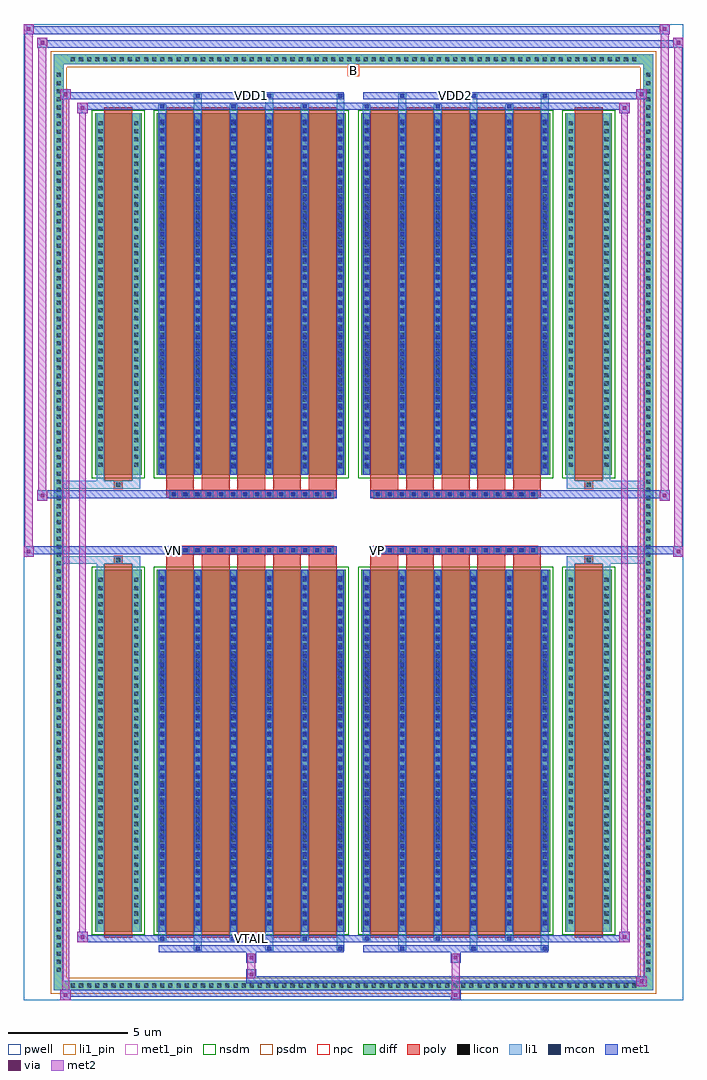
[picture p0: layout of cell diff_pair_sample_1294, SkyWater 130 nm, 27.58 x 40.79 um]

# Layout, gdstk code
import gdstk
lib = gdstk.Library(unit=1e-6, precision=5e-09)
def R(c, l, rs):  # rectangles x0, y0, x1, y1
    for r in rs: c.add(gdstk.rectangle(r[:2], r[2:], *l))
def A(c, l, x, y, w, h, nx, ny, dx, dy):  # array of equal rectangles
    R(c, l, [(x+i*dx, y+j*dy, x+i*dx+w, y+j*dy+h) for i in range(nx) for j in range(ny)])
def P(c, l, *ps):  # polygons
    for p in ps: c.add(gdstk.Polygon(p, *l))
pwell = (64, 44)
diff = (65, 20)
poly = (66, 20)
licon = (66, 44)
li1_pin = (67, 16)
li1 = (67, 20)
mcon = (67, 44)
met1_pin = (68, 16)
met1 = (68, 20)
via = (68, 44)
met2 = (69, 20)
nsdm = (93, 44)
psdm = (94, 20)
npc = (95, 20)

diff_pair_sample_1294 = lib.new_cell('diff_pair_sample_1294')
R(diff_pair_sample_1294, pwell, [(-13.79,-19.96,13.79,20.83), (-11.11,-18.15,-0.01,-0.805), (0.01,-18.15,11.11,-0.805), (-11.11,0.805,-0.01,18.15), (0.01,0.805,11.11,18.15)])
A(diff_pair_sample_1294, diff, -11.935, -19.56, 0.41, 0.41, 70, 2, 0.34, 38.71)
A(diff_pair_sample_1294, diff, -12.52, -18.905, 0.41, 0.41, 1, 111, 0, 0.34)
A(diff_pair_sample_1294, diff, 12.11, -18.905, 0.41, 0.41, 1, 111, 0, 0.34)
R(diff_pair_sample_1294, diff, [(-11.935,-19.56,11.935,-19.15), (-12.52,-18.905,-12.11,18.905), (12.11,-18.905,12.52,18.905), (-10.8,-17.105,-8.86,-1.985), (-8.22,-17.105,-0.32,-1.985), (0.32,-17.105,8.22,-1.985), (8.86,-17.105,10.8,-1.985), (-10.8,1.985,-8.86,17.105), (-8.22,1.985,-0.32,17.105), (0.32,1.985,8.22,17.105), (8.86,1.985,10.8,17.105), (-11.935,19.15,11.935,19.56)])
P(diff_pair_sample_1294, diff, [(12.52,19.56),(-12.52,19.56),(-12.52,-19.15),(-12.11,-19.15),(-12.11,19.15),(12.11,19.15),(12.11,-19.15),(-12.11,-19.15),(-12.52,-19.15),(-12.52,-19.56),(12.52,-19.56)])
A(diff_pair_sample_1294, poly, -7.83, -17.355, 1.16, 15.62, 5, 2, 1.49, 19.09)
A(diff_pair_sample_1294, poly, 0.71, -17.355, 1.16, 15.62, 5, 2, 1.49, 19.09)
A(diff_pair_sample_1294, poly, -7.83, -1.735, 1.16, 0.4, 5, 2, 1.49, 3.07)
A(diff_pair_sample_1294, poly, 0.71, -1.735, 1.16, 0.4, 5, 2, 1.49, 3.07)
A(diff_pair_sample_1294, poly, -7.685, -1.335, 0.33, 0.33, 14, 2, 0.5, 2.34)
A(diff_pair_sample_1294, poly, 0.855, -1.335, 0.33, 0.33, 14, 2, 0.5, 2.34)
R(diff_pair_sample_1294, poly, [(-10.41,-17.355,-9.25,-1.735), (9.25,-17.355,10.41,-1.735), (-9.995,-1.735,-9.665,-1.405), (-9.995,-1.735,-9.665,-1.405), (9.665,-1.735,9.995,-1.405), (9.665,-1.735,9.995,-1.405), (-7.83,-1.335,-0.71,-1.005), (0.71,-1.335,7.83,-1.005), (-7.83,1.005,-0.71,1.335), (0.71,1.005,7.83,1.335), (-9.995,1.405,-9.665,1.735), (-9.995,1.405,-9.665,1.735), (9.665,1.405,9.995,1.735), (9.665,1.405,9.995,1.735), (-10.41,1.735,-9.25,17.355), (9.25,1.735,10.41,17.355)])
A(diff_pair_sample_1294, licon, -11.815, -19.44, 0.17, 0.17, 70, 2, 0.34, 38.71)
A(diff_pair_sample_1294, licon, -12.4, -18.785, 0.17, 0.17, 1, 111, 0, 0.34)
A(diff_pair_sample_1294, licon, 12.23, -18.785, 0.17, 0.17, 1, 111, 0, 0.34)
A(diff_pair_sample_1294, licon, -10.66, -16.77, 0.17, 0.17, 1, 43, 0, 0.34)
A(diff_pair_sample_1294, licon, -9.17, -16.77, 0.17, 0.17, 1, 43, 0, 0.34)
A(diff_pair_sample_1294, licon, -8.08, -16.77, 0.17, 0.17, 6, 43, 1.49, 0.34)
A(diff_pair_sample_1294, licon, 0.46, -16.77, 0.17, 0.17, 6, 43, 1.49, 0.34)
A(diff_pair_sample_1294, licon, 9, -16.77, 0.17, 0.17, 1, 43, 0, 0.34)
A(diff_pair_sample_1294, licon, 10.49, -16.77, 0.17, 0.17, 1, 43, 0, 0.34)
A(diff_pair_sample_1294, licon, -7.605, -1.255, 0.17, 0.17, 14, 2, 0.5, 2.34)
A(diff_pair_sample_1294, licon, 0.935, -1.255, 0.17, 0.17, 14, 2, 0.5, 2.34)
A(diff_pair_sample_1294, licon, -10.66, 2.32, 0.17, 0.17, 1, 43, 0, 0.34)
A(diff_pair_sample_1294, licon, -9.17, 2.32, 0.17, 0.17, 1, 43, 0, 0.34)
A(diff_pair_sample_1294, licon, -8.08, 2.32, 0.17, 0.17, 6, 43, 1.49, 0.34)
A(diff_pair_sample_1294, licon, 0.46, 2.32, 0.17, 0.17, 6, 43, 1.49, 0.34)
A(diff_pair_sample_1294, licon, 9, 2.32, 0.17, 0.17, 1, 43, 0, 0.34)
A(diff_pair_sample_1294, licon, 10.49, 2.32, 0.17, 0.17, 1, 43, 0, 0.34)
R(diff_pair_sample_1294, licon, [(-9.915,-1.655,-9.745,-1.485), (9.745,-1.655,9.915,-1.485), (-9.915,1.485,-9.745,1.655), (9.745,1.485,9.915,1.655)])
R(diff_pair_sample_1294, li1_pin, [(-0.25,18.65,0.25,19.15)])
A(diff_pair_sample_1294, li1, -11.895, -19.52, 0.33, 0.33, 70, 2, 0.34, 38.71)
A(diff_pair_sample_1294, li1, -12.48, -18.865, 0.33, 0.33, 1, 111, 0, 0.34)
A(diff_pair_sample_1294, li1, 12.15, -18.865, 0.33, 0.33, 1, 111, 0, 0.34)
A(diff_pair_sample_1294, li1, -6.67, -17.91, 0.33, 0.805, 3, 2, 2.98, 35.015)
A(diff_pair_sample_1294, li1, -6.59, -17.91, 0.17, 0.17, 3, 2, 2.98, 35.65)
A(diff_pair_sample_1294, li1, 1.87, -17.91, 0.33, 0.805, 3, 2, 2.98, 35.015)
A(diff_pair_sample_1294, li1, 1.95, -17.91, 0.17, 0.17, 3, 2, 2.98, 35.65)
A(diff_pair_sample_1294, li1, -8.16, -17.48, 0.33, 0.375, 3, 2, 2.98, 34.585)
A(diff_pair_sample_1294, li1, -8.08, -17.48, 0.17, 0.17, 3, 2, 2.98, 34.79)
A(diff_pair_sample_1294, li1, 0.38, -17.48, 0.33, 0.375, 3, 2, 2.98, 34.585)
A(diff_pair_sample_1294, li1, 0.46, -17.48, 0.17, 0.17, 3, 2, 2.98, 34.79)
A(diff_pair_sample_1294, li1, -8.16, -17.105, 0.33, 15.12, 6, 2, 1.49, 19.09)
A(diff_pair_sample_1294, li1, 0.38, -17.105, 0.33, 15.12, 6, 2, 1.49, 19.09)
A(diff_pair_sample_1294, li1, -10.74, -16.85, 0.33, 0.33, 1, 43, 0, 0.34)
A(diff_pair_sample_1294, li1, -9.25, -16.85, 0.33, 0.33, 1, 43, 0, 0.34)
A(diff_pair_sample_1294, li1, -8.16, -16.85, 0.33, 0.33, 6, 43, 1.49, 0.34)
A(diff_pair_sample_1294, li1, 0.38, -16.85, 0.33, 0.33, 6, 43, 1.49, 0.34)
A(diff_pair_sample_1294, li1, 8.92, -16.85, 0.33, 0.33, 1, 43, 0, 0.34)
A(diff_pair_sample_1294, li1, 10.41, -16.85, 0.33, 0.33, 1, 43, 0, 0.34)
A(diff_pair_sample_1294, li1, -8.08, -16.83, 0.17, 0.17, 6, 41, 1.49, 0.36)
A(diff_pair_sample_1294, li1, -8.08, -16.83, 0.17, 14.57, 6, 2, 1.49, 19.09)
A(diff_pair_sample_1294, li1, 0.46, -16.83, 0.17, 0.17, 6, 41, 1.49, 0.36)
A(diff_pair_sample_1294, li1, 0.46, -16.83, 0.17, 14.57, 6, 2, 1.49, 19.09)
A(diff_pair_sample_1294, li1, -7.685, -1.335, 0.33, 0.33, 14, 2, 0.5, 2.34)
A(diff_pair_sample_1294, li1, 0.855, -1.335, 0.33, 0.33, 14, 2, 0.5, 2.34)
A(diff_pair_sample_1294, li1, -10.74, 2.24, 0.33, 0.33, 1, 43, 0, 0.34)
A(diff_pair_sample_1294, li1, -9.25, 2.24, 0.33, 0.33, 1, 43, 0, 0.34)
A(diff_pair_sample_1294, li1, -8.16, 2.24, 0.33, 0.33, 6, 43, 1.49, 0.34)
A(diff_pair_sample_1294, li1, 0.38, 2.24, 0.33, 0.33, 6, 43, 1.49, 0.34)
A(diff_pair_sample_1294, li1, 8.92, 2.24, 0.33, 0.33, 1, 43, 0, 0.34)
A(diff_pair_sample_1294, li1, 10.41, 2.24, 0.33, 0.33, 1, 43, 0, 0.34)
A(diff_pair_sample_1294, li1, -8.08, 2.26, 0.17, 0.17, 6, 41, 1.49, 0.36)
A(diff_pair_sample_1294, li1, 0.46, 2.26, 0.17, 0.17, 6, 41, 1.49, 0.36)
R(diff_pair_sample_1294, li1, [(-12.52,-19.56,-12.11,-19.15), (-12.52,-19.56,-12.11,-19.15), (-12.11,-19.56,12.11,-19.15), (12.11,-19.56,12.52,-19.15), (12.11,-19.56,12.52,-19.15), (-12.52,-19.15,-12.11,19.15), (12.11,-19.15,12.52,19.15), (-10.74,-17.105,-10.41,-1.985), (-9.25,-17.105,-8.92,-1.985), (8.92,-17.105,9.25,-1.985), (10.41,-17.105,10.74,-1.985), (-10.74,-1.985,-10.41,-1.405), (-9.25,-1.985,-8.92,-1.405), (8.92,-1.985,9.25,-1.405), (10.41,-1.985,10.74,-1.405), (-12.52,-1.735,-9.995,-1.405), (-10.74,-1.735,-9.995,-1.405), (-9.995,-1.735,-9.665,-1.405), (-9.665,-1.735,-8.92,-1.405), (8.92,-1.735,9.665,-1.405), (9.665,-1.735,9.995,-1.405), (9.665,-1.735,12.52,-1.405), (9.995,-1.735,10.74,-1.405), (-12.52,1.405,-9.995,1.735), (-10.74,1.405,-9.995,1.735), (-10.74,1.405,-10.41,1.985), (-9.995,1.405,-9.665,1.735), (-9.665,1.405,-8.92,1.735), (-9.25,1.405,-8.92,1.985), (8.92,1.405,9.665,1.735), (8.92,1.405,9.25,1.985), (9.665,1.405,9.995,1.735), (9.665,1.405,12.52,1.735), (9.995,1.405,10.74,1.735), (10.41,1.405,10.74,1.985), (-10.74,1.985,-10.41,17.105), (-9.25,1.985,-8.92,17.105), (8.92,1.985,9.25,17.105), (10.41,1.985,10.74,17.105), (-12.52,19.15,-12.11,19.56), (-12.52,19.15,-12.11,19.56), (-12.11,19.15,12.11,19.56), (12.11,19.15,12.52,19.56), (12.11,19.15,12.52,19.56)])
A(diff_pair_sample_1294, mcon, -6.59, -17.91, 0.17, 0.17, 3, 2, 2.98, 35.65)
A(diff_pair_sample_1294, mcon, 1.95, -17.91, 0.17, 0.17, 3, 2, 2.98, 35.65)
A(diff_pair_sample_1294, mcon, -8.08, -17.48, 0.17, 0.17, 3, 2, 2.98, 34.79)
A(diff_pair_sample_1294, mcon, 0.46, -17.48, 0.17, 0.17, 3, 2, 2.98, 34.79)
A(diff_pair_sample_1294, mcon, -8.08, -16.83, 0.17, 0.17, 6, 41, 1.49, 0.36)
A(diff_pair_sample_1294, mcon, 0.46, -16.83, 0.17, 0.17, 6, 41, 1.49, 0.36)
A(diff_pair_sample_1294, mcon, -7.605, -1.255, 0.17, 0.17, 14, 2, 0.5, 2.34)
A(diff_pair_sample_1294, mcon, 0.935, -1.255, 0.17, 0.17, 14, 2, 0.5, 2.34)
A(diff_pair_sample_1294, mcon, -8.08, 2.26, 0.17, 0.17, 6, 41, 1.49, 0.36)
A(diff_pair_sample_1294, mcon, 0.46, 2.26, 0.17, 0.17, 6, 41, 1.49, 0.36)
R(diff_pair_sample_1294, met1_pin, [(-4.405,-17.52,-4.135,-17.25), (-7.655,-1.295,-7.385,-1.025), (0.885,-1.295,1.155,-1.025), (-4.405,17.7,-4.135,17.97), (4.135,17.7,4.405,17.97)])
A(diff_pair_sample_1294, met1, -6.65, -17.97, 0.29, 0.29, 3, 2, 2.98, 35.65)
A(diff_pair_sample_1294, met1, 1.89, -17.97, 0.29, 0.29, 3, 2, 2.98, 35.65)
A(diff_pair_sample_1294, met1, -8.14, -17.54, 0.29, 0.29, 3, 2, 2.98, 34.79)
A(diff_pair_sample_1294, met1, 0.4, -17.54, 0.29, 0.29, 3, 2, 2.98, 34.79)
A(diff_pair_sample_1294, met1, -8.14, -17.105, 0.29, 15.12, 6, 2, 1.49, 19.09)
A(diff_pair_sample_1294, met1, 0.4, -17.105, 0.29, 15.12, 6, 2, 1.49, 19.09)
A(diff_pair_sample_1294, met1, -8.14, -16.89, 0.29, 0.29, 6, 41, 1.49, 0.36)
A(diff_pair_sample_1294, met1, 0.4, -16.89, 0.29, 0.29, 6, 41, 1.49, 0.36)
A(diff_pair_sample_1294, met1, -7.665, -1.315, 0.29, 0.29, 14, 2, 0.5, 2.34)
A(diff_pair_sample_1294, met1, 0.875, -1.315, 0.29, 0.29, 14, 2, 0.5, 2.34)
A(diff_pair_sample_1294, met1, -8.14, 2.2, 0.29, 0.29, 6, 41, 1.49, 0.36)
A(diff_pair_sample_1294, met1, 0.4, 2.2, 0.29, 0.29, 6, 41, 1.49, 0.36)
R(diff_pair_sample_1294, met1, [(-12.25,-19.96,-11.82,-19.53), (4.055,-19.96,4.485,-19.53), (-12.25,-19.82,4.485,-19.53), (11.82,-19.39,12.25,-18.96), (-4.485,-19.25,12.25,-18.96), (-4.485,-19.11,-4.055,-18.68), (-4.485,-18.4,-4.055,-17.97), (4.055,-18.4,4.485,-17.97), (-8.14,-17.97,-0.4,-17.68), (0.4,-17.97,8.14,-17.68), (-11.54,-17.54,-11.11,-17.11), (-11.54,-17.54,-8.14,-17.25), (-8.14,-17.54,-0.4,-17.25), (-0.4,-17.54,0.4,-17.25), (0.4,-17.54,8.14,-17.25), (8.14,-17.54,11.54,-17.25), (11.11,-17.54,11.54,-17.11), (-13.79,-1.435,-13.36,-1.005), (13.36,-1.435,13.79,-1.005), (-13.79,-1.335,-0.71,-1.005), (-7.83,-1.335,-0.71,-1.005), (0.71,-1.335,7.83,-1.005), (0.71,-1.335,13.79,-1.005), (-13.22,0.905,-12.79,1.335), (12.79,0.905,13.22,1.335), (-13.22,1.005,-7.83,1.335), (-7.83,1.005,-0.71,1.335), (0.71,1.005,7.83,1.335), (7.83,1.005,13.22,1.335), (-11.54,17.11,-11.11,17.54), (11.11,17.11,11.54,17.54), (-11.54,17.25,-8.14,17.54), (-8.14,17.25,-0.4,17.54), (-0.4,17.25,0.4,17.54), (0.4,17.25,8.14,17.54), (8.14,17.25,11.54,17.54), (-12.25,17.68,-11.82,18.11), (-12.25,17.68,-8.14,17.97), (-8.14,17.68,-0.4,17.97), (0.4,17.68,8.14,17.97), (8.14,17.68,12.25,17.97), (11.82,17.68,12.25,18.11), (-13.22,19.83,-12.79,20.26), (-13.22,19.83,-11.11,20.16), (-11.11,19.83,11.11,20.16), (11.11,19.83,13.79,20.16), (13.36,19.83,13.79,20.26), (-13.79,20.4,-13.36,20.83), (-13.79,20.4,-11.11,20.73), (-11.11,20.4,11.11,20.73), (11.11,20.4,13.22,20.73), (12.79,20.4,13.22,20.83)])
R(diff_pair_sample_1294, via, [(-12.11,-19.82,-11.96,-19.67), (4.195,-19.82,4.345,-19.67), (11.96,-19.25,12.11,-19.1), (-4.345,-18.97,-4.195,-18.82), (-4.345,-18.26,-4.195,-18.11), (4.195,-18.26,4.345,-18.11), (-11.4,-17.4,-11.25,-17.25), (11.25,-17.4,11.4,-17.25), (-13.65,-1.295,-13.5,-1.145), (13.5,-1.295,13.65,-1.145), (-13.08,1.045,-12.93,1.195), (12.93,1.045,13.08,1.195), (-11.4,17.25,-11.25,17.4), (11.25,17.25,11.4,17.4), (-12.11,17.82,-11.96,17.97), (11.96,17.82,12.11,17.97), (-13.08,19.97,-12.93,20.12), (13.5,19.97,13.65,20.12), (-13.65,20.54,-13.5,20.69), (12.93,20.54,13.08,20.69)])
R(diff_pair_sample_1294, met2, [(-12.25,-19.96,-11.82,-19.53), (-12.18,-19.96,-11.89,18.11), (-11.89,-19.96,-11.82,-19.53), (-12.2,-19.91,-11.87,-19.58), (4.105,-19.91,4.435,-19.58), (4.105,-19.58,4.435,-18.35), (11.82,-19.39,12.25,-18.96), (11.89,-19.39,12.18,18.11), (12.18,-19.39,12.25,-18.96), (11.87,-19.34,12.2,-19.01), (-4.435,-19.06,-4.105,-18.73), (-4.435,-18.73,-4.105,-18.35), (-4.435,-18.35,-4.105,-18.02), (4.105,-18.35,4.435,-18.02), (-11.54,-17.54,-11.11,-17.11), (-11.47,-17.54,-11.18,17.54), (-11.18,-17.54,-11.11,-17.11), (11.11,-17.54,11.54,-17.11), (11.18,-17.54,11.47,17.54), (11.47,-17.54,11.54,-17.11), (-11.49,-17.49,-11.16,-17.16), (11.16,-17.49,11.49,-17.16), (-13.79,-1.435,-13.36,-1.005), (-13.74,-1.435,-13.41,20.83), (-13.41,-1.435,-13.36,-1.005), (13.36,-1.435,13.79,-1.005), (13.41,-1.435,13.74,20.26), (13.74,-1.435,13.79,-1.005), (-13.74,-1.385,-13.41,-1.055), (13.41,-1.385,13.74,-1.055), (-13.22,0.905,-12.79,1.335), (-13.17,0.905,-12.84,20.26), (-12.84,0.905,-12.79,1.335), (12.79,0.905,13.22,1.335), (12.84,0.905,13.17,20.83), (13.17,0.905,13.22,1.335), (-13.17,0.955,-12.84,1.285), (12.84,0.955,13.17,1.285), (-11.54,17.11,-11.11,17.54), (-11.18,17.11,-11.11,17.54), (11.11,17.11,11.54,17.54), (11.47,17.11,11.54,17.54), (-11.49,17.16,-11.16,17.49), (11.16,17.16,11.49,17.49), (-12.25,17.68,-11.82,18.11), (-11.89,17.68,-11.82,18.11), (11.82,17.68,12.25,18.11), (12.18,17.68,12.25,18.11), (-12.2,17.73,-11.87,18.06), (11.87,17.73,12.2,18.06), (-13.22,19.83,-12.79,20.26), (-12.84,19.83,-12.79,20.26), (13.36,19.83,13.79,20.26), (13.74,19.83,13.79,20.26), (-13.17,19.88,-12.84,20.21), (13.41,19.88,13.74,20.21), (-13.79,20.4,-13.36,20.83), (-13.41,20.4,-13.36,20.83), (12.79,20.4,13.22,20.83), (13.17,20.4,13.22,20.83), (-13.74,20.45,-13.41,20.78), (12.84,20.45,13.17,20.78)])
R(diff_pair_sample_1294, nsdm, [(-10.93,-17.235,-8.73,-1.855), (-8.35,-17.235,-0.19,-1.855), (0.19,-17.235,8.35,-1.855), (8.73,-17.235,10.93,-1.855), (-10.93,1.855,-8.73,17.235), (-8.35,1.855,-0.19,17.235), (0.19,1.855,8.35,17.235), (8.73,1.855,10.93,17.235)])
P(diff_pair_sample_1294, psdm, [(12.65,19.69),(-12.65,19.69),(-12.65,-19.02),(-11.98,-19.02),(-11.98,19.02),(11.98,19.02),(11.98,-19.02),(-11.98,-19.02),(-12.65,-19.02),(-12.65,-19.69),(12.65,-19.69)])
A(diff_pair_sample_1294, npc, -7.705, -1.355, 0.37, 0.37, 14, 2, 0.5, 2.34)
A(diff_pair_sample_1294, npc, 0.835, -1.355, 0.37, 0.37, 14, 2, 0.5, 2.34)
R(diff_pair_sample_1294, npc, [(-10.015,-1.755,-9.645,-1.385), (9.645,-1.755,10.015,-1.385), (-7.705,-1.355,-6.835,-0.985), (-7.705,-1.355,-6.835,-0.985), (-7.205,-1.355,-6.335,-0.985), (-7.205,-1.355,-6.335,-0.985), (-6.705,-1.355,-5.835,-0.985), (-6.705,-1.355,-5.835,-0.985), (-6.205,-1.355,-5.335,-0.985), (-6.205,-1.355,-5.335,-0.985), (-5.705,-1.355,-4.835,-0.985), (-5.705,-1.355,-4.835,-0.985), (-5.205,-1.355,-4.335,-0.985), (-5.205,-1.355,-4.335,-0.985), (-4.705,-1.355,-3.835,-0.985), (-4.705,-1.355,-3.835,-0.985), (-4.205,-1.355,-3.335,-0.985), (-4.205,-1.355,-3.335,-0.985), (-3.705,-1.355,-2.835,-0.985), (-3.705,-1.355,-2.835,-0.985), (-3.205,-1.355,-2.335,-0.985), (-3.205,-1.355,-2.335,-0.985), (-2.705,-1.355,-1.835,-0.985), (-2.705,-1.355,-1.835,-0.985), (-2.205,-1.355,-1.335,-0.985), (-2.205,-1.355,-1.335,-0.985), (-1.705,-1.355,-0.835,-0.985), (-1.705,-1.355,-0.835,-0.985), (0.835,-1.355,1.705,-0.985), (0.835,-1.355,1.705,-0.985), (1.335,-1.355,2.205,-0.985), (1.335,-1.355,2.205,-0.985), (1.835,-1.355,2.705,-0.985), (1.835,-1.355,2.705,-0.985), (2.335,-1.355,3.205,-0.985), (2.335,-1.355,3.205,-0.985), (2.835,-1.355,3.705,-0.985), (2.835,-1.355,3.705,-0.985), (3.335,-1.355,4.205,-0.985), (3.335,-1.355,4.205,-0.985), (3.835,-1.355,4.705,-0.985), (3.835,-1.355,4.705,-0.985), (4.335,-1.355,5.205,-0.985), (4.335,-1.355,5.205,-0.985), (4.835,-1.355,5.705,-0.985), (4.835,-1.355,5.705,-0.985), (5.335,-1.355,6.205,-0.985), (5.335,-1.355,6.205,-0.985), (5.835,-1.355,6.705,-0.985), (5.835,-1.355,6.705,-0.985), (6.335,-1.355,7.205,-0.985), (6.335,-1.355,7.205,-0.985), (6.835,-1.355,7.705,-0.985), (6.835,-1.355,7.705,-0.985), (-7.705,0.985,-6.835,1.355), (-7.705,0.985,-6.835,1.355), (-7.205,0.985,-6.335,1.355), (-7.205,0.985,-6.335,1.355), (-6.705,0.985,-5.835,1.355), (-6.705,0.985,-5.835,1.355), (-6.205,0.985,-5.335,1.355), (-6.205,0.985,-5.335,1.355), (-5.705,0.985,-4.835,1.355), (-5.705,0.985,-4.835,1.355), (-5.205,0.985,-4.335,1.355), (-5.205,0.985,-4.335,1.355), (-4.705,0.985,-3.835,1.355), (-4.705,0.985,-3.835,1.355), (-4.205,0.985,-3.335,1.355), (-4.205,0.985,-3.335,1.355), (-3.705,0.985,-2.835,1.355), (-3.705,0.985,-2.835,1.355), (-3.205,0.985,-2.335,1.355), (-3.205,0.985,-2.335,1.355), (-2.705,0.985,-1.835,1.355), (-2.705,0.985,-1.835,1.355), (-2.205,0.985,-1.335,1.355), (-2.205,0.985,-1.335,1.355), (-1.705,0.985,-0.835,1.355), (-1.705,0.985,-0.835,1.355), (0.835,0.985,1.705,1.355), (0.835,0.985,1.705,1.355), (1.335,0.985,2.205,1.355), (1.335,0.985,2.205,1.355), (1.835,0.985,2.705,1.355), (1.835,0.985,2.705,1.355), (2.335,0.985,3.205,1.355), (2.335,0.985,3.205,1.355), (2.835,0.985,3.705,1.355), (2.835,0.985,3.705,1.355), (3.335,0.985,4.205,1.355), (3.335,0.985,4.205,1.355), (3.835,0.985,4.705,1.355), (3.835,0.985,4.705,1.355), (4.335,0.985,5.205,1.355), (4.335,0.985,5.205,1.355), (4.835,0.985,5.705,1.355), (4.835,0.985,5.705,1.355), (5.335,0.985,6.205,1.355), (5.335,0.985,6.205,1.355), (5.835,0.985,6.705,1.355), (5.835,0.985,6.705,1.355), (6.335,0.985,7.205,1.355), (6.335,0.985,7.205,1.355), (6.835,0.985,7.705,1.355), (6.835,0.985,7.705,1.355), (-10.015,1.385,-9.645,1.755), (9.645,1.385,10.015,1.755)])
diff_pair_sample_1294.add(gdstk.Label('VTAIL', (-4.27,-17.385), layer=68, texttype=5))
diff_pair_sample_1294.add(gdstk.Label('VN', (-7.52,-1.16), layer=68, texttype=5))
diff_pair_sample_1294.add(gdstk.Label('VP', (1.02,-1.16), layer=68, texttype=5))
diff_pair_sample_1294.add(gdstk.Label('B', (0,18.9), layer=67, texttype=5))
diff_pair_sample_1294.add(gdstk.Label('VDD2', (4.27,17.835), layer=68, texttype=5))
diff_pair_sample_1294.add(gdstk.Label('VDD1', (-4.27,17.835), layer=68, texttype=5))

lib.write_gds('diff_pair_sample_1294.gds')
